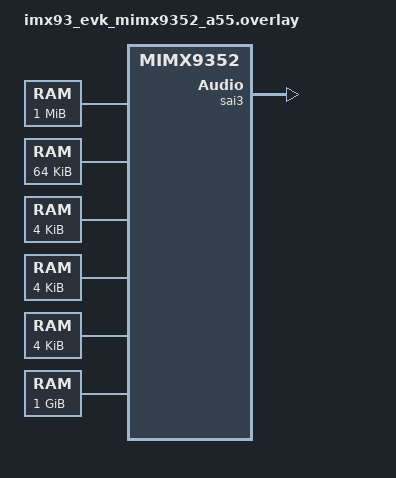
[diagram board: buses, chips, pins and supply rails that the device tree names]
/*
 * Copyright 2023 NXP
 *
 * SPDX-License-Identifier: Apache-2.0
 */

/ {
	/delete-node/ memory@d0000000;
	/* Inmate memory, reserved through "mem=1248MB" boot argument,
	 * starts at 0xce000000.
	 */
	sram0: memory@ce000000 {
		reg = <0xce000000 DT_SIZE_M(1)>;
	};

	/* TODO: all of the nodes below are needed by SOF and should
	 * be removed once all drivers used by SOF have been moved
	 * to Zephyr.
	 *
	 * They are added in the DTS for the sake of not using hardcoded
	 * values in mmu_regions.c
	 */
	mu2_a: memory@42430000 {
		reg = <0x42430000 DT_SIZE_K(64)>;
	};

	outbox: memory@ce100000 {
		reg = <0xce100000 DT_SIZE_K(4)>;
	};

	inbox: memory@ce101000 {
		reg = <0xce101000 DT_SIZE_K(4)>;
	};

	stream: memory@ce102000 {
		reg = <0xce102000 DT_SIZE_K(4)>;
	};

	/* TODO: this is extremely bad and it's needed here because of
	 * the fact that the DMA buffer shared by host and FW is situated
	 * in this region. For now, it's easier to create a mapping for the
	 * whole region but in the future a mapping should only be created
	 * for the physical address of the buffer sent to the FW through an
	 * IPC.
	 */
	host_ram: memory@80000000 {
		reg = <0x80000000 DT_SIZE_M(1024)>;
	};

	host_dma: dma {
		compatible = "nxp,sof-host-dma";
		dma-channels = <32>;
		#dma-cells = <0>;
	};
};

&sai3 {
	tx-fifo-watermark = <2>;
	rx-fifo-watermark = <96>;
	fifo-depth = <96>;
	rx-sync-mode = <1>;
	status = "okay";
};

&edma4 {
	status = "okay";
};
